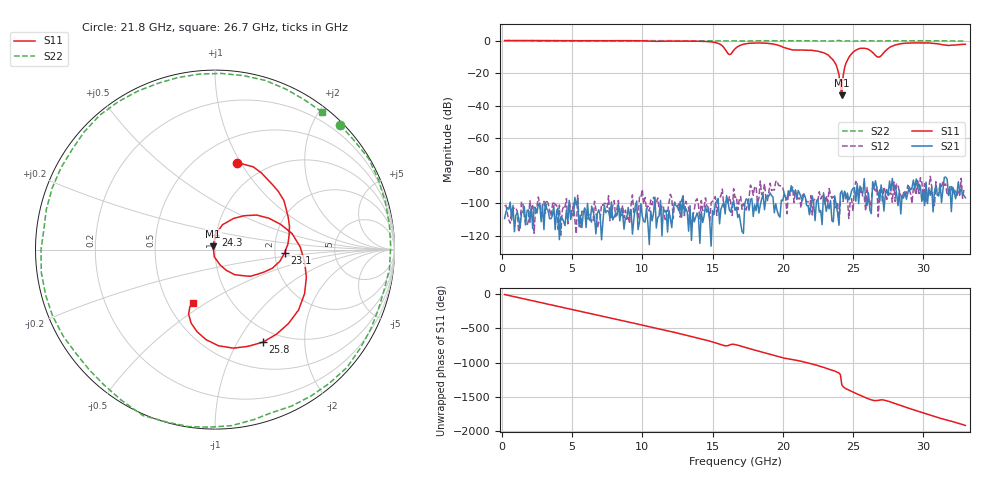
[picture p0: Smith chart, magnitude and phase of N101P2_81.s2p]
# GHZ S RI R 50
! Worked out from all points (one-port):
!   329 points, 200 MHz to 33 GHz, reference 50 ohm
!   lowest |S11| = -33.6 dB at 24.2 GHz (marker M1), VSWR 1.04, Z = 49 + j1.78 ohm
!   |S11| at or under -10 dB: 23.35 GHz to 24.73 GHz (1.379 GHz wide, 5.74 % of centre); 26.75 GHz to 26.9 GHz (154.5 MHz wide, 0.576 % of centre)
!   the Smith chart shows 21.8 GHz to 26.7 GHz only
!   S11 on the Smith chart (normalised r, x): 21.8 GHz: 0.75, +0.97; 23.1 GHz: 2.27, -0.09; 24.3 GHz: 0.99, +0.17; 25.8 GHz: 0.82, -1.28; 26.7 GHz: 0.67, -0.44
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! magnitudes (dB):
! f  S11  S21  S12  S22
! 200 MHz  0.0  -109.3  -101.7  0.0
! 5.7 GHz  -0.1  -115.0  -104.8  -0.1
! 11.2 GHz  -0.5  -107.8  -103.5  0.0
! 15.1 GHz  -1.0  -107.1  -97.6  -0.2
! 15.6 GHz  -2.6  -103.5  -95.1  -0.2
! 16.2 GHz  -8.6  -104.2  -95.9  -0.2
! 16.6 GHz  -5.1  -104.4  -96.5  -0.2
! 18.4 GHz  -1.5  -101.1  -86.4  -0.1
! 21.8 GHz  -6.0  -101.4  -99.0  -0.1
! 22.1 GHz  -6.0  -95.4  -107.2  -0.1
! 23.1 GHz  -8.2  -104.9  -95.2  -0.2
! 23.8 GHz  -15.0  -100.7  -102.0  0.0
! 24 GHz  -20.9  -112.9  -113.4  0.1
! 24.2 GHz  -33.6  -92.4  -98.1  -0.2
! 24.3 GHz  -21.6  -97.6  -98.9  -0.3
! 24.5 GHz  -13.9  -97.3  -95.1  -0.2
! 24.8 GHz  -9.2  -96.0  -98.9  -0.2
! 25.8 GHz  -4.7  -84.8  -96.2  -0.2
! 26.7 GHz  -9.9  -91.0  -89.9  -0.3
! 27.6 GHz  -4.3  -86.3  -93.8  -0.2
! 28.8 GHz  -1.5  -97.6  -93.9  -0.2
! 33 GHz  -2.3  -96.6  -91.5  -0.3
